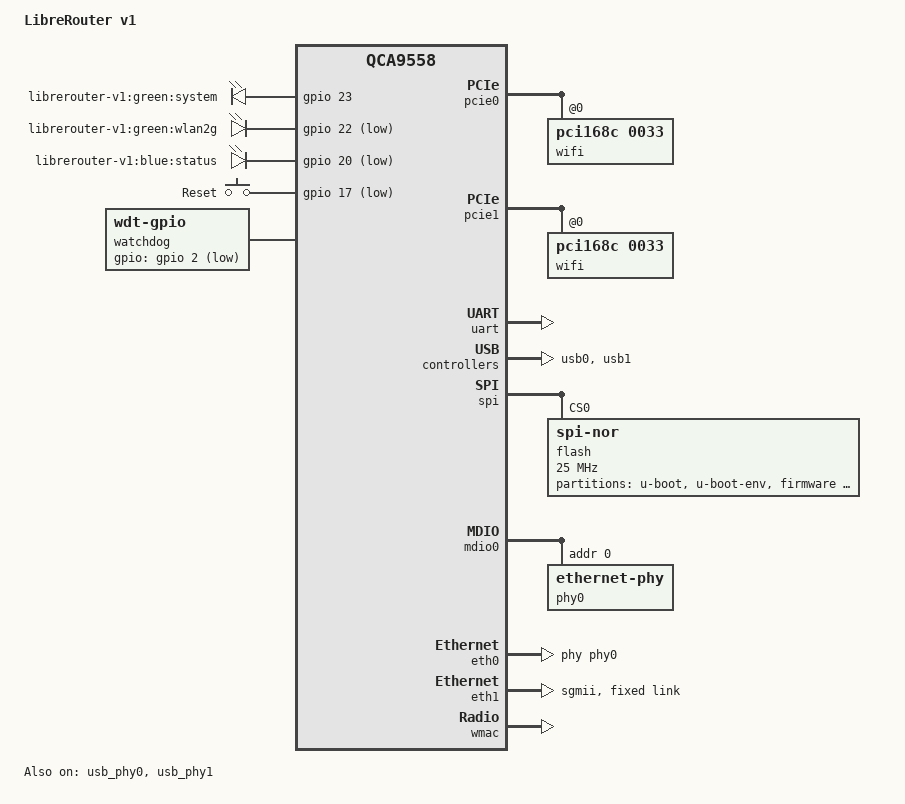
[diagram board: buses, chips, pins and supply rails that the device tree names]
// SPDX-License-Identifier: GPL-2.0-or-later OR MIT
/dts-v1/;

#include <dt-bindings/gpio/gpio.h>
#include <dt-bindings/input/input.h>

#include "qca955x.dtsi"

/ {
	compatible = "librerouter,librerouter-v1", "qca,qca9558";
	model = "LibreRouter v1";

	aliases {
		led-boot = &led_system;
		led-failsafe = &led_system;
		led-running = &led_system;
		led-upgrade = &led_system;
	};

	leds {
		compatible = "gpio-leds";

		led_system: system {
			label = "librerouter-v1:green:system";
			gpios = <&gpio 23 GPIO_ACTIVE_HIGH>;
			default-state = "on";
		};

		wifi_green {
			label = "librerouter-v1:green:wlan2g";
			gpios = <&gpio 22 GPIO_ACTIVE_LOW>;
			linux,default-trigger = "phy0tpt";
		};

		status_blue {
			label = "librerouter-v1:blue:status";
			gpios = <&gpio 20 GPIO_ACTIVE_LOW>;
		};
	};

	keys {
		compatible = "gpio-keys";

		reset {
			label = "Reset";
			linux,code = <KEY_RESTART>;
			gpios = <&gpio 17 GPIO_ACTIVE_LOW>;
			debounce-interval = <60>;
		};
	};

	watchdog {
		compatible = "linux,wdt-gpio";
		gpios = <&gpio 2 GPIO_ACTIVE_LOW>;
		hw_algo = "toggle";
		hw_margin_ms = <1000>;
		always-running;
	};
};

&pcie0 {
	status = "okay";

	wifi@0,0 {
		compatible = "pci168c,0033";
		reg = <0x0000 0 0 0 0>;
	};
};

&pcie1 {
	status = "okay";

	wifi@0,0 {
		compatible = "pci168c,0033";
		reg = <0x0000 0 0 0 0>;
	};
};

&uart {
	status = "okay";
};

&gpio {
	status = "okay";
};

&usb_phy0 {
	status = "okay";
};

&usb0 {
	#address-cells = <1>;
	#size-cells = <0>;
	status = "okay";
};

&usb_phy1 {
	status = "okay";
};

&usb1 {
	#address-cells = <1>;
	#size-cells = <0>;
	status = "okay";
};

&spi {
	status = "okay";

	num-cs = <1>;

	flash@0 {
		compatible = "jedec,spi-nor";
		reg = <0>;
		spi-max-frequency = <25000000>;

		partitions {
			compatible = "fixed-partitions";
			#address-cells = <1>;
			#size-cells = <1>;

			partition@0 {
				label = "u-boot";
				reg = <0x000000 0x040000>;
				read-only;
			};

			partition@40000 {
				label = "u-boot-env";
				reg = <0x040000 0x010000>;
			};

			partition@50000 {
				compatible = "denx,uimage";
				label = "firmware";
				reg = <0x050000 0x7c0000>;
			};

			partition@810000 {
				label = "fw2";
				reg = <0x810000 0x7d0000>;
			};

			partition@fd0000 {
				label = "res";
				reg = <0xfd0000 0x20000>;
			};

			art: partition@ff0000 {
				label = "art";
				reg = <0xff0000 0x010000>;
				read-only;
			};
		};
	};
};

&mdio0 {
	status = "okay";

	phy0: ethernet-phy@0 {
		reg = <0>;
		qca,ar8327-initvals = <
			0x04 0x87600000 /* PORT0: RGMII, MAC0/6 exchage, tx_delay 01, rx_delay 10 */
			0x0c 0x00000080 /* PORT6: SGMII */
			0x10 0x81000080 /* POWER_ON_STRAP: LED open drain, SerDes auto-neg disabled */
			0x50 0xcf37cf37 /* LED_CTRL0 */
			0x54 0xcf37cf37 /* LED_CTRL1 */
			0x58 0xcf37cf37 /* LED_CTRL2 */
			0x5c 0x0        /* LED_CTRL3 */
			0x7c 0x0000007e /* PORT0_STATUS */
			0x94 0x0000007e /* PORT6 STATUS */
		>;
	};
};

&eth0 {
	status = "okay";

	pll-data = <0xa6000000 0x00000101 0x00001616>;
	mtd-mac-address = <&art 0x0>;

	phy-handle = <&phy0>;
};

&eth1 {
	status = "okay";

	phy-mode = "sgmii";
	pll-data = <0x03000101 0x00000101 0x00001616>;
	mtd-mac-address = <&art 0x6>;

	fixed-link {
		speed = <1000>;
		full-duplex;
	};
};

&wmac {
	status = "okay";

	mtd-cal-data = <&art 0x1000>;
	mtd-mac-address = <&art 0xc>;
};
